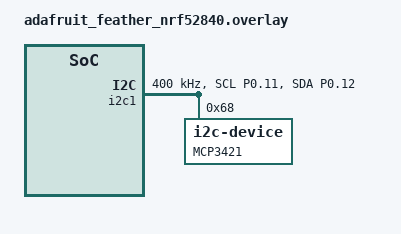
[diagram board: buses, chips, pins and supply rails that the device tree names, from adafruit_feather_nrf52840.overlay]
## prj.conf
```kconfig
CONFIG_I2C=y

#logs
CONFIG_LOG=y
```

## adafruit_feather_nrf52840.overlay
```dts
&i2c1 {
    status="okay";
    pinctrl-0 = <&i2c1_default>;
    pinctrl-1 = <&i2c1_sleep>;
    pinctrl-names = "default","sleep";
    compatible = "nordic,nrf-twi";
    clock-frequency = <I2C_BITRATE_FAST>;

    mcp3421:mcp3421@68{
        compatible="i2c-device";
        reg=<0x68>;
        label="MCP3421";
    };

};

&pinctrl {
	i2c1_default: i2c1_default {
		group1 {
			psels = <NRF_PSEL(TWIM_SCL, 0, 11)>, <NRF_PSEL(TWIM_SDA, 0, 12)>;
			nordic,drive-mode = <NRF_DRIVE_S0D1>;
		};
	};
	i2c1_sleep: i2c1_sleep {
        group1 {
            psels = <NRF_PSEL(TWIM_SCL, 0, 11)>, <NRF_PSEL(TWIM_SDA, 0, 12)>;
            nordic,drive-mode = <NRF_DRIVE_S0D1>;
            low-power-enable;
        };
    };
};
```

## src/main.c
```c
#include <zephyr/kernel.h>
#include <zephyr/device.h>
#include <zephyr/drivers/i2c.h>
#include <zephyr/logging/log.h>

LOG_MODULE_REGISTER(mcp3421, LOG_LEVEL_INF);

// I2C configuration based on devicetree label
static const struct i2c_dt_spec mcp3421 = I2C_DT_SPEC_GET(DT_NODELABEL(mcp3421));

// MCP3421 config: Continuous conversion, 18-bit, Gain = 1
#define MCP3421_CONFIG_BYTE 0x9C

void main(void)
{
    if (!device_is_ready(mcp3421.bus)) {
        LOG_ERR("I2C bus for MCP3421 is not ready");
        return;
    }

    LOG_INF("MCP3421 initialized. Reading raw ADC values...");

    while (1) {
        int ret;
        uint8_t config = MCP3421_CONFIG_BYTE;
        uint8_t buffer[4];  // 3 bytes for ADC + 1 config byte
        int32_t raw_adc = 0;

        // Step 1: Send config byte to start (or refresh) continuous conversion
        ret = i2c_write_dt(&mcp3421, &config, 1);
        if (ret < 0) {
            LOG_ERR("Failed to write config byte: %d", ret);
            k_sleep(K_SECONDS(1));
            continue;
        }

        // Step 2: Wait for conversion to complete (~266ms for 18-bit)
        k_sleep(K_MSEC(300));

        // Step 3: Read 3 data bytes + 1 config byte
        ret = i2c_read_dt(&mcp3421, buffer, 4);
        if (ret < 0) {
            LOG_ERR("Failed to read ADC value: %d", ret);
            k_sleep(K_SECONDS(1));
            continue;
        }

        // Step 4: Extract 18-bit signed result
        raw_adc = ((buffer[0] & 0x03) << 16) | (buffer[1] << 8) | buffer[2];

        // Step 5: Sign-extend if the value is negative
        if (buffer[0] & 0x80) {
            raw_adc |= 0xFFFC0000;  // Extend sign bit for 18-bit signed value
        }

        // Step 6: Print raw ADC value
        LOG_INF("Raw ADC: %d", raw_adc);

        k_sleep(K_SECONDS(2));
    }
}
```
